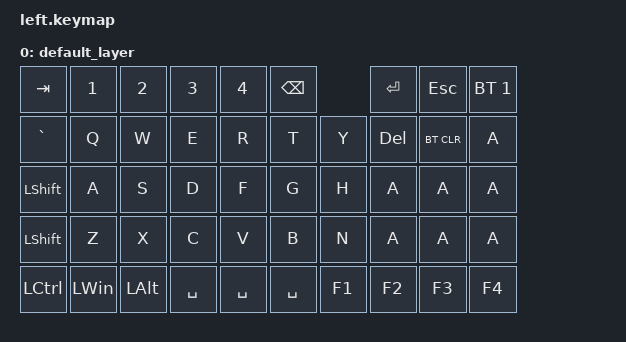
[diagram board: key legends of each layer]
#include <behaviors.dtsi>
#include <dt-bindings/zmk/keys.h>
#include <dt-bindings/zmk/bt.h>

/ {
    keymap {
        compatible = "zmk,keymap";

        default_layer {
            bindings = <
                &kp TAB    &kp N1    &kp N2    &kp N3    &kp N4    &kp BACKSPACE    &kp ENTER    &kp ESCAPE    &bt BT_SEL 1
                &kp GRAVE    &kp Q    &kp W    &kp E    &kp R    &kp T    &kp Y    &kp DELETE    &bt BT_CLR    &kp A
                &kp LSHIFT   &kp A    &kp S    &kp D    &kp F    &kp G    &kp H    &kp A    &kp A    &kp A
                &kp LSHIFT   &kp Z    &kp X    &kp C    &kp V    &kp B    &kp N    &kp A    &kp A    &kp A
                &kp LCTRL     &kp LEFT_WIN    &kp LALT    &kp SPACE    &kp SPACE    &kp SPACE    &kp F1    &kp F2    &kp F3    &kp F4
            >;
        };
    };
};
